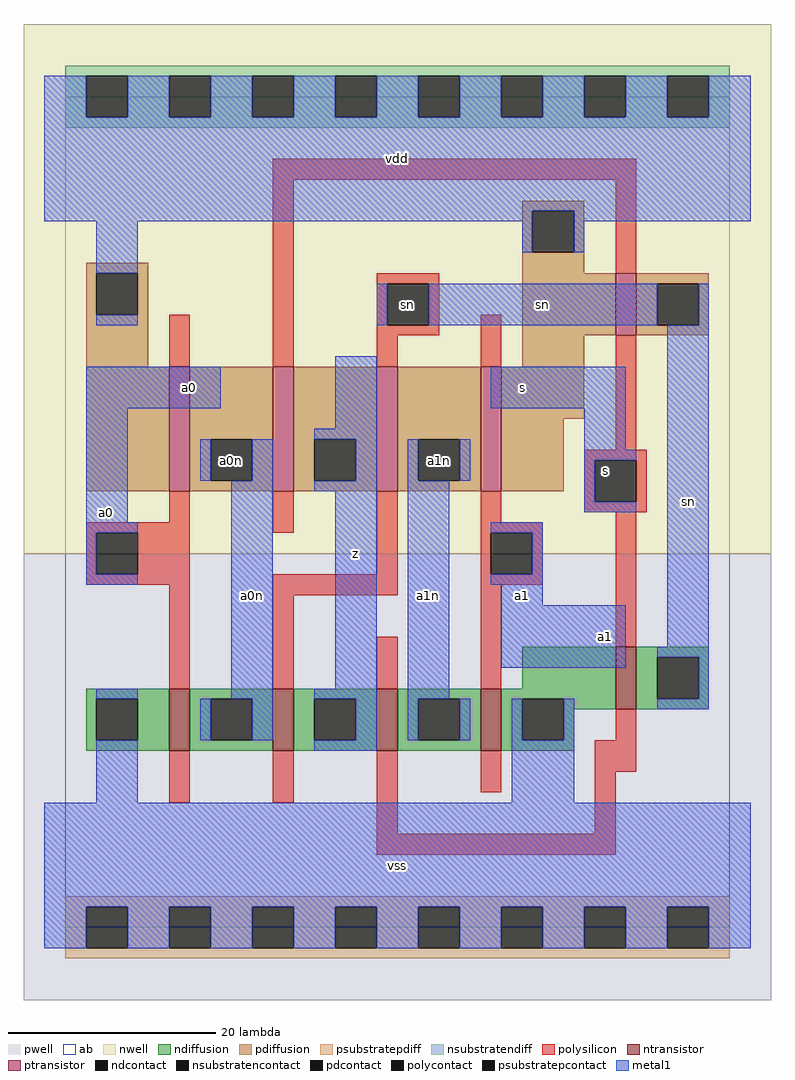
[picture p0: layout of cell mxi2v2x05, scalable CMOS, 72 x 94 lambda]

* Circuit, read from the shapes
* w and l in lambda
.subckt mxi2v2x05 a0 a0n a1 a1n s sn vdd vss z
M1 a0n a0 vss vss nfet w=6 l=2
M2 z sn a0n vss nfet w=6 l=2
M3 a1n s z vss nfet w=6 l=2
M4 vss a1 a1n vss nfet w=6 l=2
M5 sn s vss vss nfet w=6 l=2
M6 a0n a0 vdd vdd pfet w=12 l=2
M7 z s a0n vdd pfet w=12 l=2
M8 a1n sn z vdd pfet w=12 l=2
M9 vdd a1 a1n vdd pfet w=12 l=2
M10 sn s vdd vdd pfet w=6 l=2
.ends

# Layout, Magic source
magic
tech scmos
<< ab >>
rect 0 0 64 80
<< pwell >>
rect -4 -7 68 36
<< nwell >>
rect -4 36 68 87
<< polysilicon >>
rect 20 72 55 74
rect 10 54 12 59
rect 20 54 22 72
rect 53 63 55 72
rect 30 62 36 63
rect 30 58 31 62
rect 35 58 36 62
rect 30 57 36 58
rect 30 54 32 57
rect 40 54 42 59
rect 53 46 55 57
rect 50 45 56 46
rect 10 39 12 42
rect 2 38 12 39
rect 20 38 22 42
rect 2 34 3 38
rect 7 34 12 38
rect 30 34 32 42
rect 2 33 12 34
rect 10 23 12 33
rect 20 32 32 34
rect 40 39 42 42
rect 50 41 51 45
rect 55 41 56 45
rect 50 40 56 41
rect 40 38 46 39
rect 40 34 41 38
rect 45 34 46 38
rect 40 33 46 34
rect 20 23 22 32
rect 30 23 32 28
rect 40 23 42 33
rect 53 27 55 40
rect 53 18 55 21
rect 10 12 12 17
rect 20 12 22 17
rect 30 9 32 17
rect 40 13 42 17
rect 51 15 55 18
rect 51 9 53 15
rect 30 7 53 9
<< ndiffusion >>
rect 44 23 53 27
rect 2 22 10 23
rect 2 18 3 22
rect 7 18 10 22
rect 2 17 10 18
rect 12 22 20 23
rect 12 18 14 22
rect 18 18 20 22
rect 12 17 20 18
rect 22 22 30 23
rect 22 18 24 22
rect 28 18 30 22
rect 22 17 30 18
rect 32 22 40 23
rect 32 18 34 22
rect 38 18 40 22
rect 32 17 40 18
rect 42 22 53 23
rect 42 18 44 22
rect 48 21 53 22
rect 55 26 62 27
rect 55 22 57 26
rect 61 22 62 26
rect 55 21 62 22
rect 48 18 49 21
rect 42 17 49 18
<< pdiffusion >>
rect 2 63 8 64
rect 2 59 3 63
rect 7 59 8 63
rect 2 54 8 59
rect 44 69 50 70
rect 44 65 45 69
rect 49 65 50 69
rect 44 63 50 65
rect 44 57 53 63
rect 55 62 62 63
rect 55 58 57 62
rect 61 58 62 62
rect 55 57 62 58
rect 44 54 50 57
rect 2 42 10 54
rect 12 47 20 54
rect 12 43 14 47
rect 18 43 20 47
rect 12 42 20 43
rect 22 47 30 54
rect 22 43 24 47
rect 28 43 30 47
rect 22 42 30 43
rect 32 47 40 54
rect 32 43 34 47
rect 38 43 40 47
rect 32 42 40 43
rect 42 49 50 54
rect 42 42 48 49
<< metal1 >>
rect -2 78 2 82
rect 6 78 10 82
rect 14 78 18 82
rect 22 78 26 82
rect 30 78 34 82
rect 38 78 42 82
rect 46 78 50 82
rect 54 78 58 82
rect 62 78 66 82
rect -2 69 66 78
rect -2 68 45 69
rect 3 63 7 68
rect 44 65 45 68
rect 49 68 66 69
rect 49 65 50 68
rect 3 58 7 59
rect 30 58 31 62
rect 35 58 57 62
rect 61 58 62 62
rect 2 50 15 54
rect 2 39 6 50
rect 26 48 30 55
rect 41 50 54 54
rect 24 47 30 48
rect 13 43 14 47
rect 18 43 20 47
rect 2 38 7 39
rect 2 34 3 38
rect 2 33 7 34
rect 3 22 7 23
rect 16 22 20 43
rect 28 43 30 47
rect 24 42 30 43
rect 26 23 30 42
rect 13 18 14 22
rect 18 18 20 22
rect 24 22 30 23
rect 28 18 30 22
rect 33 43 34 47
rect 38 43 39 47
rect 50 46 54 50
rect 50 45 55 46
rect 33 22 37 43
rect 50 41 51 45
rect 50 40 55 41
rect 41 38 46 39
rect 45 34 46 38
rect 41 33 46 34
rect 42 31 46 33
rect 42 25 54 31
rect 58 27 62 58
rect 57 26 62 27
rect 61 22 62 26
rect 33 18 34 22
rect 38 18 39 22
rect 43 18 44 22
rect 48 18 49 22
rect 57 21 62 22
rect 3 12 7 18
rect 24 17 30 18
rect 43 12 49 18
rect -2 2 66 12
rect -2 -2 2 2
rect 6 -2 10 2
rect 14 -2 18 2
rect 22 -2 26 2
rect 30 -2 34 2
rect 38 -2 42 2
rect 46 -2 50 2
rect 54 -2 58 2
rect 62 -2 66 2
<< ntransistor >>
rect 10 17 12 23
rect 20 17 22 23
rect 30 17 32 23
rect 40 17 42 23
rect 53 21 55 27
<< ptransistor >>
rect 53 57 55 63
rect 10 42 12 54
rect 20 42 22 54
rect 30 42 32 54
rect 40 42 42 54
<< polycontact >>
rect 31 58 35 62
rect 3 34 7 38
rect 51 41 55 45
rect 41 34 45 38
<< ndcontact >>
rect 3 18 7 22
rect 14 18 18 22
rect 24 18 28 22
rect 34 18 38 22
rect 44 18 48 22
rect 57 22 61 26
<< pdcontact >>
rect 3 59 7 63
rect 45 65 49 69
rect 57 58 61 62
rect 14 43 18 47
rect 24 43 28 47
rect 34 43 38 47
<< psubstratepcontact >>
rect 2 -2 6 2
rect 10 -2 14 2
rect 18 -2 22 2
rect 26 -2 30 2
rect 34 -2 38 2
rect 42 -2 46 2
rect 50 -2 54 2
rect 58 -2 62 2
<< nsubstratencontact >>
rect 2 78 6 82
rect 10 78 14 82
rect 18 78 22 82
rect 26 78 30 82
rect 34 78 38 82
rect 42 78 46 82
rect 50 78 54 82
rect 58 78 62 82
<< psubstratepdiff >>
rect 0 2 64 3
rect 0 -2 2 2
rect 6 -2 10 2
rect 14 -2 18 2
rect 22 -2 26 2
rect 30 -2 34 2
rect 38 -2 42 2
rect 46 -2 50 2
rect 54 -2 58 2
rect 62 -2 64 2
rect 0 -3 64 -2
<< nsubstratendiff >>
rect 0 82 64 83
rect 0 78 2 82
rect 6 78 10 82
rect 14 78 18 82
rect 22 78 26 82
rect 30 78 34 82
rect 38 78 42 82
rect 46 78 50 82
rect 54 78 58 82
rect 62 78 64 82
rect 0 77 64 78
<< labels >>
rlabel polycontact 33 60 33 60 6 sn
rlabel metal1 4 40 4 40 6 a0
rlabel metal1 18 32 18 32 6 a0n
rlabel pdcontact 16 45 16 45 6 a0n
rlabel metal1 12 52 12 52 6 a0
rlabel metal1 32 6 32 6 6 vss
rlabel metal1 35 32 35 32 6 a1n
rlabel metal1 28 36 28 36 6 z
rlabel metal1 32 74 32 74 6 vdd
rlabel metal1 44 32 44 32 6 a1
rlabel pdcontact 36 45 36 45 6 a1n
rlabel metal1 44 52 44 52 6 s
rlabel metal1 52 28 52 28 6 a1
rlabel polycontact 52 44 52 44 6 s
rlabel metal1 60 41 60 41 6 sn
rlabel metal1 46 60 46 60 6 sn
<< end >>
